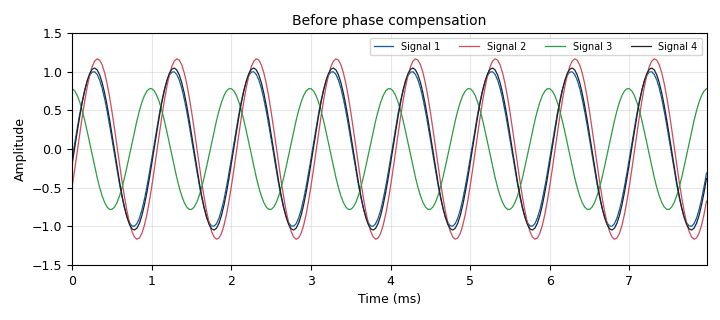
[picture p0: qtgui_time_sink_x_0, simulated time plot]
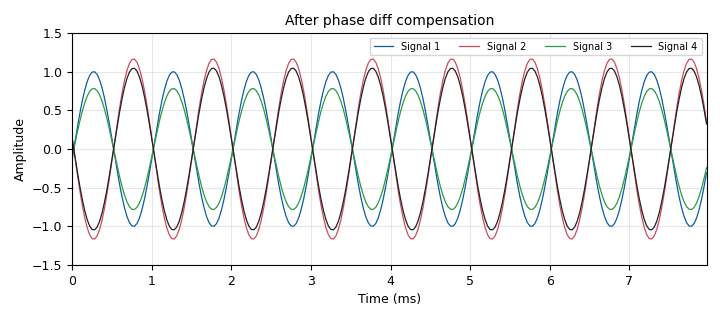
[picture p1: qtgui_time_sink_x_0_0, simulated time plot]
options:
  parameters:
    generate_options: qt_gui
    id: run_phase_shift_coeff_calc_test
    output_language: python
    title: Phase shift correcting coefficient calculation test
  states: {}

blocks:
- name: samp_rate
  id: variable
  parameters:
    value: '32000'
  states: {}
- name: analog_const_source_x_0
  id: analog_const_source_x
  parameters:
    const: '1'
    type: float
  states: {}
- name: analog_const_source_x_0_0
  id: analog_const_source_x
  parameters:
    const: '1'
    type: float
  states: {}
- name: analog_const_source_x_0_0_0
  id: analog_const_source_x
  parameters:
    const: '1'
    type: float
  states: {}
- name: analog_sig_source_x_1
  id: analog_sig_source_x
  parameters:
    amp: '1'
    freq: '1000'
    offset: '0'
    phase: np.pi*(2*np.random.rand()-1)
    samp_rate: samp_rate
    type: complex
    waveform: analog.GR_COS_WAVE
  states: {}
- name: aoa_calc_phase_diff_multiple_hier_0
  id: aoa_calc_phase_diff_multiple_hier
  parameters:
    norm_spacing: '0.5'
    num_signals: '3'
  states: {}
- name: aoa_shift_phase_multiple_hier_0
  id: aoa_shift_phase_multiple_hier
  parameters:
    num_signals: '3'
  states: {}
- name: blocks_complex_to_arg_0
  id: blocks_complex_to_arg
  parameters: {}
  states: {}
- name: blocks_complex_to_arg_0_0
  id: blocks_complex_to_arg
  parameters: {}
  states: {}
- name: blocks_complex_to_arg_0_0_0
  id: blocks_complex_to_arg
  parameters: {}
  states: {}
- name: blocks_complex_to_real_0
  id: blocks_complex_to_real
  parameters: {}
  states: {}
- name: blocks_complex_to_real_0_0
  id: blocks_complex_to_real
  parameters: {}
  states: {}
- name: blocks_complex_to_real_0_0_0
  id: blocks_complex_to_real
  parameters: {}
  states: {}
- name: blocks_complex_to_real_0_0_0_0
  id: blocks_complex_to_real
  parameters: {}
  states: {}
- name: blocks_complex_to_real_0_0_0_0_0
  id: blocks_complex_to_real
  parameters: {}
  states: {}
- name: blocks_complex_to_real_0_0_0_0_0_0
  id: blocks_complex_to_real
  parameters: {}
  states: {}
- name: blocks_complex_to_real_0_0_0_1
  id: blocks_complex_to_real
  parameters: {}
  states: {}
- name: blocks_complex_to_real_0_0_0_1_0
  id: blocks_complex_to_real
  parameters: {}
  states: {}
- name: blocks_complex_to_real_0_0_1
  id: blocks_complex_to_real
  parameters: {}
  states: {}
- name: blocks_complex_to_real_0_0_1_1
  id: blocks_complex_to_real
  parameters: {}
  states: {}
- name: blocks_complex_to_real_0_1
  id: blocks_complex_to_real
  parameters: {}
  states: {}
- name: blocks_magphase_to_complex_0
  id: blocks_magphase_to_complex
  parameters: {}
  states: {}
- name: blocks_magphase_to_complex_0_0
  id: blocks_magphase_to_complex
  parameters: {}
  states: {}
- name: blocks_magphase_to_complex_0_0_0
  id: blocks_magphase_to_complex
  parameters: {}
  states: {}
- name: blocks_multiply_conjugate_cc_0
  id: blocks_multiply_conjugate_cc
  parameters: {}
  states: {}
- name: blocks_multiply_conjugate_cc_0_0
  id: blocks_multiply_conjugate_cc
  parameters: {}
  states: {}
- name: blocks_multiply_conjugate_cc_0_0_0
  id: blocks_multiply_conjugate_cc
  parameters: {}
  states: {}
- name: blocks_multiply_const_vxx_0
  id: blocks_multiply_const_vxx
  parameters:
    const: (np.random.rand()+0.5)*np.exp(1j*np.pi*(2*np.random.rand()-1))
    type: complex
  states: {}
- name: blocks_multiply_const_vxx_0_0
  id: blocks_multiply_const_vxx
  parameters:
    const: (np.random.rand()+0.5)*np.exp(1j*np.pi*(2*np.random.rand()-1))
    type: complex
  states: {}
- name: blocks_multiply_const_vxx_0_0_0
  id: blocks_multiply_const_vxx
  parameters:
    const: (np.random.rand()+0.5)*np.exp(1j*np.pi*(2*np.random.rand()-1))
    type: complex
  states: {}
- name: blocks_multiply_const_vxx_1
  id: blocks_multiply_const_vxx
  parameters:
    const: np.exp(1j*np.pi)
    type: complex
  states: {}
- name: blocks_multiply_const_vxx_1_0
  id: blocks_multiply_const_vxx
  parameters:
    const: np.exp(1j*2*np.pi)
    type: complex
  states: {}
- name: blocks_multiply_const_vxx_1_0_0
  id: blocks_multiply_const_vxx
  parameters:
    const: np.exp(1j*3*np.pi)
    type: complex
  states: {}
- name: blocks_multiply_xx_0
  id: blocks_multiply_xx
  parameters:
    type: complex
  states: {}
- name: blocks_multiply_xx_0_0
  id: blocks_multiply_xx
  parameters:
    type: complex
  states: {}
- name: blocks_multiply_xx_0_0_0
  id: blocks_multiply_xx
  parameters:
    type: complex
  states: {}
- name: blocks_throttle_0
  id: blocks_throttle
  parameters:
    samples_per_second: samp_rate
    type: complex
  states: {}
- name: import_0
  id: import
  parameters:
    imports: import numpy as np
  states: {}
- name: qtgui_time_sink_x_0
  id: qtgui_time_sink_x
  parameters:
    entags: 'False'
    gui_hint: '0,0,1,1 '
    name: '"Before phase compensation"'
    nconnections: '4'
    size: '256'
    srate: samp_rate
    type: float
    ymax: '1.5'
    ymin: '-1.5'
  states: {}
- name: qtgui_time_sink_x_0_0
  id: qtgui_time_sink_x
  parameters:
    entags: 'False'
    gui_hint: '0,1,1,1 '
    name: '"After phase diff compensation"'
    nconnections: '4'
    size: '256'
    srate: samp_rate
    type: float
    ymax: '1.5'
    ymin: '-1.5'
  states: {}
- name: qtgui_time_sink_x_0_0_0
  id: qtgui_time_sink_x
  parameters:
    entags: 'False'
    gui_hint: '1,1,1,1 '
    name: '"Custom block after compensation"'
    nconnections: '4'
    size: '256'
    srate: samp_rate
    type: float
    ymax: '1.5'
    ymin: '-1.5'
  states: {}

connections:
- [analog_const_source_x_0, '0', blocks_magphase_to_complex_0, '0']
- [analog_const_source_x_0_0, '0', blocks_magphase_to_complex_0_0, '0']
- [analog_const_source_x_0_0_0, '0', blocks_magphase_to_complex_0_0_0, '0']
- [analog_sig_source_x_1, '0', blocks_multiply_const_vxx_0, '0']
- [analog_sig_source_x_1, '0', blocks_multiply_const_vxx_0_0, '0']
- [analog_sig_source_x_1, '0', blocks_multiply_const_vxx_0_0_0, '0']
- [analog_sig_source_x_1, '0', blocks_throttle_0, '0']
- [aoa_calc_phase_diff_multiple_hier_0, '0', aoa_shift_phase_multiple_hier_0, '3']
- [aoa_calc_phase_diff_multiple_hier_0, '1', aoa_shift_phase_multiple_hier_0, '4']
- [aoa_calc_phase_diff_multiple_hier_0, '2', aoa_shift_phase_multiple_hier_0, '5']
- [aoa_shift_phase_multiple_hier_0, '0', blocks_complex_to_real_0_0_0_0_0_0, '0']
- [aoa_shift_phase_multiple_hier_0, '1', blocks_complex_to_real_0_0_1_1, '0']
- [aoa_shift_phase_multiple_hier_0, '2', blocks_complex_to_real_0_0_0_1_0, '0']
- [blocks_complex_to_arg_0, '0', blocks_magphase_to_complex_0, '1']
- [blocks_complex_to_arg_0_0, '0', blocks_magphase_to_complex_0_0, '1']
- [blocks_complex_to_arg_0_0_0, '0', blocks_magphase_to_complex_0_0_0, '1']
- [blocks_complex_to_real_0, '0', qtgui_time_sink_x_0, '0']
- [blocks_complex_to_real_0_0, '0', qtgui_time_sink_x_0, '1']
- [blocks_complex_to_real_0_0_0, '0', qtgui_time_sink_x_0, '3']
- [blocks_complex_to_real_0_0_0_0, '0', qtgui_time_sink_x_0, '2']
- [blocks_complex_to_real_0_0_0_0_0, '0', qtgui_time_sink_x_0_0, '2']
- [blocks_complex_to_real_0_0_0_0_0_0, '0', qtgui_time_sink_x_0_0_0, '1']
- [blocks_complex_to_real_0_0_0_1, '0', qtgui_time_sink_x_0_0, '3']
- [blocks_complex_to_real_0_0_0_1_0, '0', qtgui_time_sink_x_0_0_0, '3']
- [blocks_complex_to_real_0_0_1, '0', qtgui_time_sink_x_0_0, '1']
- [blocks_complex_to_real_0_0_1_1, '0', qtgui_time_sink_x_0_0_0, '2']
- [blocks_complex_to_real_0_1, '0', qtgui_time_sink_x_0_0, '0']
- [blocks_complex_to_real_0_1, '0', qtgui_time_sink_x_0_0_0, '0']
- [blocks_magphase_to_complex_0, '0', blocks_multiply_xx_0, '1']
- [blocks_magphase_to_complex_0_0, '0', blocks_multiply_xx_0_0, '1']
- [blocks_magphase_to_complex_0_0_0, '0', blocks_multiply_xx_0_0_0, '1']
- [blocks_multiply_conjugate_cc_0, '0', blocks_multiply_const_vxx_1, '0']
- [blocks_multiply_conjugate_cc_0_0, '0', blocks_multiply_const_vxx_1_0, '0']
- [blocks_multiply_conjugate_cc_0_0_0, '0', blocks_multiply_const_vxx_1_0_0, '0']
- [blocks_multiply_const_vxx_0, '0', aoa_calc_phase_diff_multiple_hier_0, '1']
- [blocks_multiply_const_vxx_0, '0', aoa_shift_phase_multiple_hier_0, '0']
- [blocks_multiply_const_vxx_0, '0', blocks_complex_to_real_0_0, '0']
- [blocks_multiply_const_vxx_0, '0', blocks_multiply_conjugate_cc_0, '1']
- [blocks_multiply_const_vxx_0, '0', blocks_multiply_xx_0, '0']
- [blocks_multiply_const_vxx_0_0, '0', aoa_calc_phase_diff_multiple_hier_0, '2']
- [blocks_multiply_const_vxx_0_0, '0', aoa_shift_phase_multiple_hier_0, '1']
- [blocks_multiply_const_vxx_0_0, '0', blocks_complex_to_real_0_0_0_0, '0']
- [blocks_multiply_const_vxx_0_0, '0', blocks_multiply_conjugate_cc_0_0, '1']
- [blocks_multiply_const_vxx_0_0, '0', blocks_multiply_xx_0_0, '0']
- [blocks_multiply_const_vxx_0_0_0, '0', aoa_calc_phase_diff_multiple_hier_0, '3']
- [blocks_multiply_const_vxx_0_0_0, '0', aoa_shift_phase_multiple_hier_0, '2']
- [blocks_multiply_const_vxx_0_0_0, '0', blocks_complex_to_real_0_0_0, '0']
- [blocks_multiply_const_vxx_0_0_0, '0', blocks_multiply_conjugate_cc_0_0_0, '1']
- [blocks_multiply_const_vxx_0_0_0, '0', blocks_multiply_xx_0_0_0, '0']
- [blocks_multiply_const_vxx_1, '0', blocks_complex_to_arg_0, '0']
- [blocks_multiply_const_vxx_1_0, '0', blocks_complex_to_arg_0_0, '0']
- [blocks_multiply_const_vxx_1_0_0, '0', blocks_complex_to_arg_0_0_0, '0']
- [blocks_multiply_xx_0, '0', blocks_complex_to_real_0_0_1, '0']
- [blocks_multiply_xx_0_0, '0', blocks_complex_to_real_0_0_0_0_0, '0']
- [blocks_multiply_xx_0_0_0, '0', blocks_complex_to_real_0_0_0_1, '0']
- [blocks_throttle_0, '0', aoa_calc_phase_diff_multiple_hier_0, '0']
- [blocks_throttle_0, '0', blocks_complex_to_real_0, '0']
- [blocks_throttle_0, '0', blocks_complex_to_real_0_1, '0']
- [blocks_throttle_0, '0', blocks_multiply_conjugate_cc_0, '0']
- [blocks_throttle_0, '0', blocks_multiply_conjugate_cc_0_0, '0']
- [blocks_throttle_0, '0', blocks_multiply_conjugate_cc_0_0_0, '0']

metadata:
  file_format: 1
